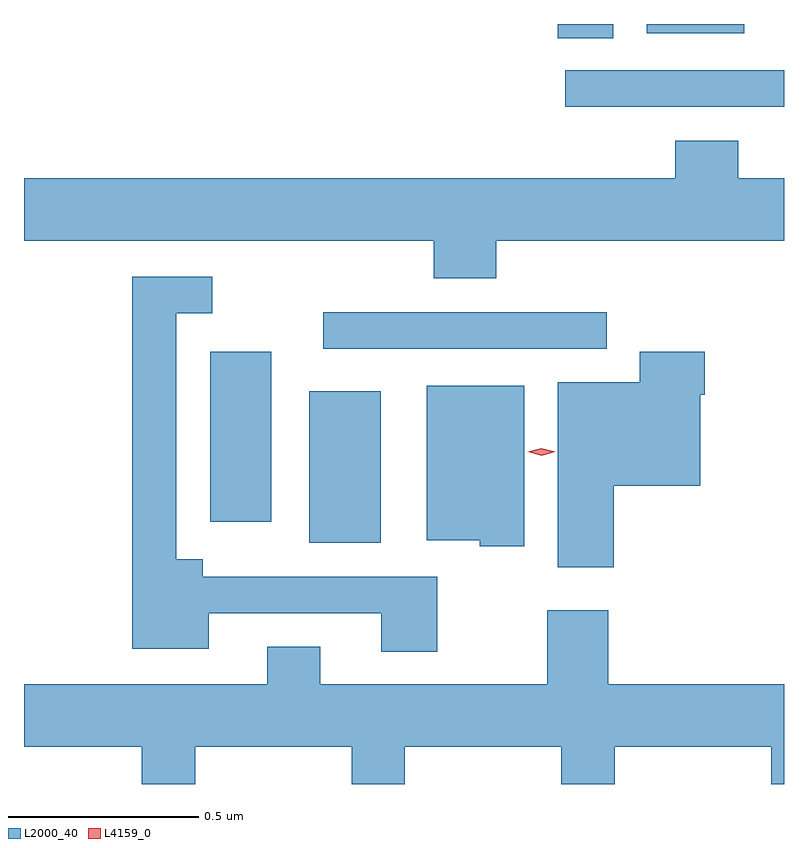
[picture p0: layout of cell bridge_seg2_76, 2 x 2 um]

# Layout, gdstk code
import gdstk
lib = gdstk.Library(unit=1e-6, precision=1e-09)
def R(c, l, rs):  # rectangles x0, y0, x1, y1
    for r in rs: c.add(gdstk.rectangle(r[:2], r[2:], *l))
def P(c, l, *ps):  # polygons
    for p in ps: c.add(gdstk.Polygon(p, *l))
L2000_40 = (2000, 40)
L4159_0 = (4159, 0)

bridge_seg2_76 = lib.new_cell('bridge_seg2_76')
R(bridge_seg2_76, L2000_40, [(366.05,658.829,366.238,659.227), (365.789,658.884,365.95,659.332), (366.087,659.34,366.832,659.436), (366.723,659.976,367.299,660.072), (366.704,660.157,366.85,660.194), (366.938,660.17,367.195,660.194)])
P(bridge_seg2_76, L2000_40, [(366.542,659.624),(367.299,659.624),(367.299,659.788),(367.178,659.788),(367.178,659.887),(367.013,659.887),(367.013,659.788),(365.299,659.788),(365.299,659.624),(366.377,659.624),(366.377,659.525),(366.542,659.525)],
  [(366.387,658.74),(365.77,658.74),(365.77,658.786),(365.7,658.786),(365.7,659.433),(365.794,659.433),(365.794,659.529),(365.584,659.529),(365.584,658.55),(365.785,658.55),(365.785,658.644),(366.239,658.644),(366.239,658.542),(366.387,658.542)],
  [(366.851,658.979),(367.078,658.979),(367.078,659.219),(367.091,659.219),(367.091,659.332),(366.92,659.332),(366.92,659.251),(366.704,659.251),(366.704,658.764),(366.851,658.764)],
  [(366.616,659.242),(366.359,659.242),(366.359,658.835),(366.498,658.835),(366.498,658.82),(366.616,658.82)],
  [(365.749,658.292),(366.161,658.292),(366.161,658.194),(366.301,658.194),(366.301,658.292),(366.713,658.292),(366.713,658.194),(366.853,658.194),(366.853,658.292),(367.265,658.292),(367.265,658.194),(367.299,658.194),(367.299,658.456),(366.836,658.456),(366.836,658.651),(366.676,658.651),(366.676,658.456),(366.079,658.456),(366.079,658.555),(365.939,658.555),(365.939,658.456),(365.299,658.456),(365.299,658.292),(365.609,658.292),(365.609,658.194),(365.749,658.194)])
P(bridge_seg2_76, L4159_0, [(366.661,659.058),(366.624,659.068),(366.624,659.068),(366.624,659.068),(366.66,659.078),(366.697,659.069),(366.697,659.069),(366.697,659.069)])

lib.write_gds('bridge_seg2_76.gds')
